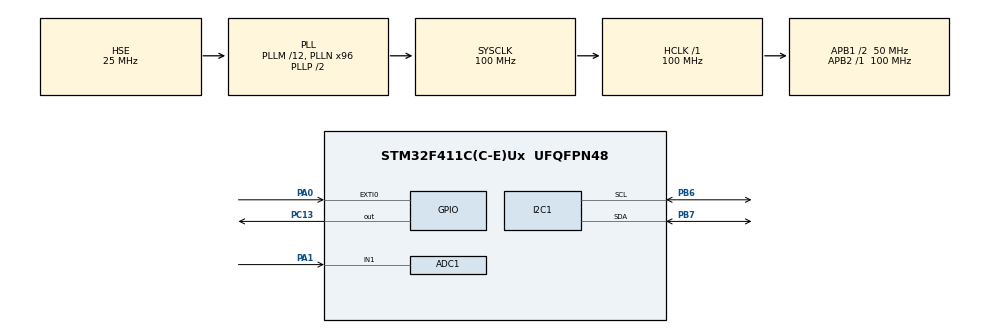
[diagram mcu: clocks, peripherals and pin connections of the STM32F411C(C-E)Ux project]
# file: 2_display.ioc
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ADC1.Channel-3\#ChannelRegularConversion=ADC_CHANNEL_1
ADC1.ContinuousConvMode=DISABLE
ADC1.NbrOfConversionFlag=1
ADC1.Rank-3\#ChannelRegularConversion=1
ADC1.SamplingTime-3\#ChannelRegularConversion=ADC_SAMPLETIME_3CYCLES
ADC1.master=1
I2C1.I2C_Mode=I2C_Standard
Mcu.Family=STM32F4
Mcu.Name=STM32F411C(C-E)Ux
Mcu.Package=UFQFPN48
NVIC.EXTI0_IRQn=true\:0\:0\:true\:false\:true\:true\:true\:true
NVIC.PriorityGroup=NVIC_PRIORITYGROUP_4
PA0-WKUP.GPIO_ModeDefaultEXTI=GPIO_MODE_IT_FALLING
PA0-WKUP.GPIO_PuPd=GPIO_PULLUP
PA0-WKUP.Signal=GPXTI0
PA1.Signal=ADCx_IN1
PA13.Mode=Serial_Wire
PA13.Signal=SYS_JTMS-SWDIO
PA14.Mode=Serial_Wire
PA14.Signal=SYS_JTCK-SWCLK
PB6.Mode=I2C
PB6.Signal=I2C1_SCL
PB7.Mode=I2C
PB7.Signal=I2C1_SDA
PC13-ANTI_TAMP.Signal=GPIO_Output
PH0\ -\ OSC_IN.Mode=HSE-External-Oscillator
PH0\ -\ OSC_IN.Signal=RCC_OSC_IN
PH1\ -\ OSC_OUT.Mode=HSE-External-Oscillator
PH1\ -\ OSC_OUT.Signal=RCC_OSC_OUT
ProjectManager.HeapSize=0x200
ProjectManager.StackSize=0x400
ProjectManager.TargetToolchain=STM32CubeIDE
RCC.48MHZClocksFreq_Value=50000000
RCC.AHBFreq_Value=100000000
RCC.APB1CLKDivider=RCC_HCLK_DIV2
RCC.APB1Freq_Value=50000000
RCC.APB1TimFreq_Value=100000000
RCC.APB2Freq_Value=100000000
RCC.APB2TimFreq_Value=100000000
RCC.CortexFreq_Value=100000000
RCC.HCLKFreq_Value=100000000
RCC.HSE_VALUE=25000000
RCC.HSI_VALUE=16000000
RCC.LSE_VALUE=32768
RCC.PLLM=12
RCC.PLLN=96
RCC.PLLSourceVirtual=RCC_PLLSOURCE_HSE
RCC.SYSCLKFreq_VALUE=100000000
RCC.SYSCLKSource=RCC_SYSCLKSOURCE_PLLCLK
RCC.VCOOutputFreq_Value=200000000
SH.ADCx_IN1.0=ADC1_IN1,IN1
board=custom

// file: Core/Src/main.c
/* USER CODE BEGIN Header */
/**
  ******************************************************************************
  * @file           : main.c
  * @brief          : Main program body
  ******************************************************************************
  * @attention
  *
  * Copyright (c) 2023 STMicroelectronics.
  * All rights reserved.
  *
  * This software is licensed under terms that can be found in the LICENSE file
  * in the root directory of this software component.
  * If no LICENSE file comes with this software, it is provided AS-IS.
  *
  ******************************************************************************
  */
/* USER CODE END Header */
#include "main.h"

/* USER CODE BEGIN Includes */
#include "lcd_i2c.h"
#include "count2volt.h"
#include <string.h>
#include <stdio.h>
/* USER CODE END Includes */

/* USER CODE BEGIN PD */

/**
 * Define LCD row addresses
 * 1 -> 3, 2 -> 4
 */
#define line_1 (0x80 | 0x00)
#define line_2 (0x80 | 0x40)
#define line_3 (0x80 | 0x14)
#define line_4 (0x80 | 0x54)

/* USER CODE END PD */

ADC_HandleTypeDef hadc1;

I2C_HandleTypeDef hi2c1;

/* USER CODE BEGIN PV */
int timeout = 50;
int adc_value;
int button_flag = 0;
int delay = 5000;
char str[32];
/* USER CODE END PV */

void SystemClock_Config(void);
static void MX_GPIO_Init(void);
static void MX_ADC1_Init(void);
static void MX_I2C1_Init(void);

int main(void)
{

  /* MCU Configuration--------------------------------------------------------*/

  /* Reset of all peripherals, Initializes the Flash interface and the Systick. */
  HAL_Init();

  /* Configure the system clock */
  SystemClock_Config();

  /* Initialize all configured peripherals */
  MX_GPIO_Init();
  MX_ADC1_Init();
  MX_I2C1_Init();
  /* USER CODE BEGIN 2 */
  lcd_init();
  /* USER CODE END 2 */

  /* Infinite loop */
  /* USER CODE BEGIN WHILE */
  while (1)
  {

    // read ADC value with Interrupt and load on adc_value variable
    if(button_flag == 1){

      lcd_clear();
      // write ADC count on display
      sprintf(str, "ADC count: %d", adc_value);
      lcd_send_cmd(line_1);
      lcd_send_string(str);

      // write ADC value in Volts
      sprintf(str, "ADC volts: %.4f", count2volt(12, adc_value));
      lcd_send_cmd(line_4);
      lcd_send_string(str);

      button_flag = 0;
    }

    /* USER CODE END WHILE */

  }
}

void SystemClock_Config(void)
{
  RCC_OscInitTypeDef RCC_OscInitStruct = {0};
  RCC_ClkInitTypeDef RCC_ClkInitStruct = {0};

  /** Configure the main internal regulator output voltage
  */
  __HAL_RCC_PWR_CLK_ENABLE();
  __HAL_PWR_VOLTAGESCALING_CONFIG(PWR_REGULATOR_VOLTAGE_SCALE1);

  /** Initializes the RCC Oscillators according to the specified parameters
  * in the RCC_OscInitTypeDef structure.
  */
  RCC_OscInitStruct.OscillatorType = RCC_OSCILLATORTYPE_HSE;
  RCC_OscInitStruct.HSEState = RCC_HSE_ON;
  RCC_OscInitStruct.PLL.PLLState = RCC_PLL_ON;
  RCC_OscInitStruct.PLL.PLLSource = RCC_PLLSOURCE_HSE;
  RCC_OscInitStruct.PLL.PLLM = 12;
  RCC_OscInitStruct.PLL.PLLN = 96;
  RCC_OscInitStruct.PLL.PLLP = RCC_PLLP_DIV2;
  RCC_OscInitStruct.PLL.PLLQ = 4;
  if (HAL_RCC_OscConfig(&RCC_OscInitStruct) != HAL_OK)
  {
    Error_Handler();
  }

  /** Initializes the CPU, AHB and APB buses clocks
  */
  RCC_ClkInitStruct.ClockType = RCC_CLOCKTYPE_HCLK|RCC_CLOCKTYPE_SYSCLK
                              |RCC_CLOCKTYPE_PCLK1|RCC_CLOCKTYPE_PCLK2;
  RCC_ClkInitStruct.SYSCLKSource = RCC_SYSCLKSOURCE_PLLCLK;
  RCC_ClkInitStruct.AHBCLKDivider = RCC_SYSCLK_DIV1;
  RCC_ClkInitStruct.APB1CLKDivider = RCC_HCLK_DIV2;
  RCC_ClkInitStruct.APB2CLKDivider = RCC_HCLK_DIV1;

  if (HAL_RCC_ClockConfig(&RCC_ClkInitStruct, FLASH_LATENCY_3) != HAL_OK)
  {
    Error_Handler();
  }
}

static void MX_ADC1_Init(void)
{

  ADC_ChannelConfTypeDef sConfig = {0};

  /** Configure the global features of the ADC (Clock, Resolution, Data Alignment and number of conversion)
  */
  hadc1.Instance = ADC1;
  hadc1.Init.ClockPrescaler = ADC_CLOCK_SYNC_PCLK_DIV4;
  hadc1.Init.Resolution = ADC_RESOLUTION_12B;
  hadc1.Init.ScanConvMode = DISABLE;
  hadc1.Init.ContinuousConvMode = DISABLE;
  hadc1.Init.DiscontinuousConvMode = DISABLE;
  hadc1.Init.ExternalTrigConvEdge = ADC_EXTERNALTRIGCONVEDGE_NONE;
  hadc1.Init.ExternalTrigConv = ADC_SOFTWARE_START;
  hadc1.Init.DataAlign = ADC_DATAALIGN_RIGHT;
  hadc1.Init.NbrOfConversion = 1;
  hadc1.Init.DMAContinuousRequests = DISABLE;
  hadc1.Init.EOCSelection = ADC_EOC_SINGLE_CONV;
  if (HAL_ADC_Init(&hadc1) != HAL_OK)
  {
    Error_Handler();
  }

  /** Configure for the selected ADC regular channel its corresponding rank in the sequencer and its sample time.
  */
  sConfig.Channel = ADC_CHANNEL_1;
  sConfig.Rank = 1;
  sConfig.SamplingTime = ADC_SAMPLETIME_3CYCLES;
  if (HAL_ADC_ConfigChannel(&hadc1, &sConfig) != HAL_OK)
  {
    Error_Handler();
  }

}

static void MX_I2C1_Init(void)
{

  hi2c1.Instance = I2C1;
  hi2c1.Init.ClockSpeed = 100000;
  hi2c1.Init.DutyCycle = I2C_DUTYCYCLE_2;
  hi2c1.Init.OwnAddress1 = 0;
  hi2c1.Init.AddressingMode = I2C_ADDRESSINGMODE_7BIT;
  hi2c1.Init.DualAddressMode = I2C_DUALADDRESS_DISABLE;
  hi2c1.Init.OwnAddress2 = 0;
  hi2c1.Init.GeneralCallMode = I2C_GENERALCALL_DISABLE;
  hi2c1.Init.NoStretchMode = I2C_NOSTRETCH_DISABLE;
  if (HAL_I2C_Init(&hi2c1) != HAL_OK)
  {
    Error_Handler();
  }

}

static void MX_GPIO_Init(void)
{
  GPIO_InitTypeDef GPIO_InitStruct = {0};

  /* GPIO Ports Clock Enable */
  __HAL_RCC_GPIOC_CLK_ENABLE();
  __HAL_RCC_GPIOH_CLK_ENABLE();
  __HAL_RCC_GPIOA_CLK_ENABLE();
  __HAL_RCC_GPIOB_CLK_ENABLE();

  /*Configure GPIO pin Output Level */
  HAL_GPIO_WritePin(GPIOC, GPIO_PIN_13, GPIO_PIN_RESET);

  /*Configure GPIO pin : PC13 */
  GPIO_InitStruct.Pin = GPIO_PIN_13;
  GPIO_InitStruct.Mode = GPIO_MODE_OUTPUT_PP;
  GPIO_InitStruct.Pull = GPIO_NOPULL;
  GPIO_InitStruct.Speed = GPIO_SPEED_FREQ_LOW;
  HAL_GPIO_Init(GPIOC, &GPIO_InitStruct);

  /*Configure GPIO pin : PA0 */
  GPIO_InitStruct.Pin = GPIO_PIN_0;
  GPIO_InitStruct.Mode = GPIO_MODE_IT_FALLING;
  GPIO_InitStruct.Pull = GPIO_PULLUP;
  HAL_GPIO_Init(GPIOA, &GPIO_InitStruct);

  /* EXTI interrupt init*/
  HAL_NVIC_SetPriority(EXTI0_IRQn, 0, 0);
  HAL_NVIC_EnableIRQ(EXTI0_IRQn);

}

/* USER CODE BEGIN 4 */

/* Function for button interruption */
void HAL_GPIO_EXTI_Callback(uint16_t GPIO_Pin){

  if(GPIO_Pin == GPIO_PIN_0){
    button_flag = 1;

    HAL_GPIO_TogglePin(GPIOC, GPIO_PIN_13);

    HAL_ADC_Start(&hadc1);
    HAL_ADC_PollForConversion(&hadc1, timeout);
    adc_value = HAL_ADC_GetValue(&hadc1);
    HAL_ADC_Stop(&hadc1);
  }

}

/* USER CODE END 4 */

void Error_Handler(void)
{
  __disable_irq();
  while (1)
  {
  }
}
